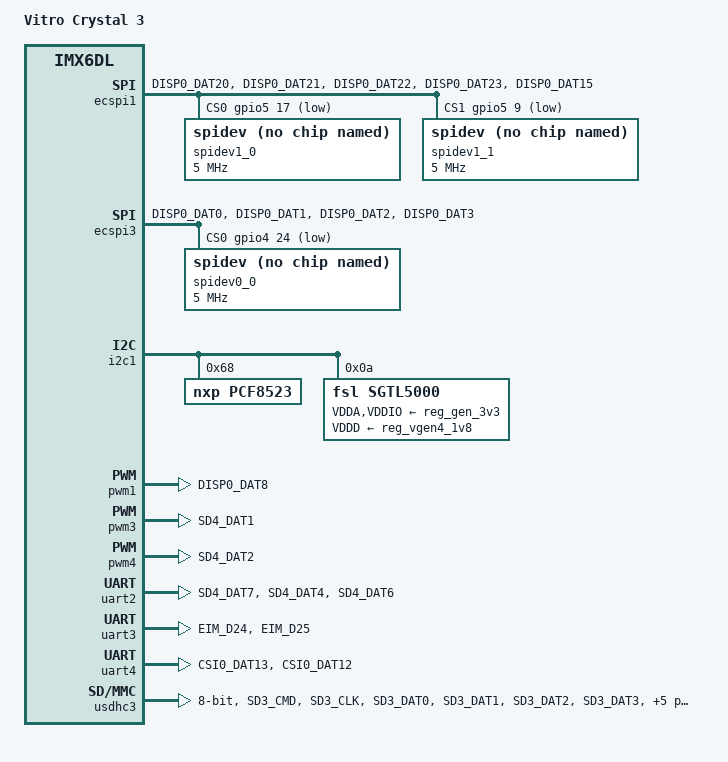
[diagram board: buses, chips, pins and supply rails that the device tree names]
/*
 * Device Tree file for vitro Crystal 2 board
 * Copyright (C) 2017 Maciej Pijanowski <maciej.pijanowski@3mdeb.com>
 *
 * This file is dual-licensed: you can use it either under the terms
 * of the GPL or the X11 license, at your option. Note that this dual
 * licensing only applies to this file, and not this project as a
 * whole.
 *
 *  a) This file is free software; you can redistribute it and/or
 *     modify it under the terms of the GNU General Public License as
 *     published by the Free Software Foundation; either version 2 of the
 *     License.
 *
 *     This file is distributed in the hope that it will be useful
 *     but WITHOUT ANY WARRANTY; without even the implied warranty of
 *     MERCHANTABILITY or FITNESS FOR A PARTICULAR PURPOSE.  See the
 *     GNU General Public License for more details.
 *
 * Or, alternatively
 *
 *  b) Permission is hereby granted, free of charge, to any person
 *     obtaining a copy of this software and associated documentation
 *     files (the "Software"), to deal in the Software without
 *     restriction, including without limitation the rights to use
 *     copy, modify, merge, publish, distribute, sublicense, and/or
 *     sell copies of the Software, and to permit persons to whom the
 *     Software is furnished to do so, subject to the following
 *     conditions:
 *
 *     The above copyright notice and this permission notice shall be
 *     included in all copies or substantial portions of the Software.
 *
 *     THE SOFTWARE IS PROVIDED , WITHOUT WARRANTY OF ANY KIND
 *     EXPRESS OR IMPLIED, INCLUDING BUT NOT LIMITED TO THE WARRANTIES
 *     OF MERCHANTABILITY, FITNESS FOR A PARTICULAR PURPOSE AND
 *     NONINFRINGEMENT. IN NO EVENT SHALL THE AUTHORS OR COPYRIGHT
 *     HOLDERS BE LIABLE FOR ANY CLAIM, DAMAGES OR OTHER LIABILITY
 *     WHETHER IN AN ACTION OF CONTRACT, TORT OR OTHERWISE, ARISING
 *     FROM, OUT OF OR IN CONNECTION WITH THE SOFTWARE OR THE USE OR
 *     OTHER DEALINGS IN THE SOFTWARE.
 */
/dts-v1/;

#include "imx6dl.dtsi"
#include "imx6dl-crystal.dtsi"

/ {
	model = "Vitro Crystal 3";
	compatible = "vitro,crystal3", "fsl,imx6dl";
};

/* SPI1 from RPI header */
&ecspi1 {
	pinctrl-names = "default";
	pinctrl-0 = <&pinctrl_crystal3_ecspi1>;
	cs-gpios = <
		&gpio5 17 GPIO_ACTIVE_LOW
		&gpio5 9  GPIO_ACTIVE_LOW
		>;
	status = "okay";

	spidev1_0: spi@0 {
		compatible = "spidev";
		reg = <0>;
		spi-max-frequency = <5000000>;
	};

	spidev1_1: spi@1 {
		compatible = "spidev";
		reg = <1>;
		spi-max-frequency = <5000000>;
	};
};

/* SPI2 from RPI header */
&ecspi3 {
	pinctrl-names = "default";
	pinctrl-0 = <&pinctrl_crystal3_ecspi3>;
	cs-gpios = <
		&gpio4 24 GPIO_ACTIVE_LOW
		>;
	status = "okay";

	spidev0_0: spi@0 {
		compatible = "spidev";
		reg = <0>;
		spi-max-frequency = <5000000>;
	};
};

&i2c1 {
	pcf8523: rtc@68 {
		compatible = "nxp,pcf8523";
		reg = <0x68>;
	};

	sgtl5000: audio@0a {
		clocks = <&clks IMX6QDL_CLK_CKO>;
		compatible = "fsl,sgtl5000";
		#sound-dai-cells = <0>;
		pinctrl-names = "default";
		pinctrl-0 = <&pinctrl_crystal3_sgtl5000>;
		reg = <0x0a>;
		VDDA-supply = <&reg_gen_3v3>;
		VDDD-supply = <&reg_vgen4_1v8>;
		VDDIO-supply = <&reg_gen_3v3>;
	};
};

&iomuxc {

	crystal3 {
		pinctrl_crystal3_ecspi1: crystal3-ecspi1 {
			fsl,pins = <
				MX6QDL_PAD_DISP0_DAT20__ECSPI1_SCLK 0x100b1
				MX6QDL_PAD_DISP0_DAT21__ECSPI1_MOSI 0x100b1
				MX6QDL_PAD_DISP0_DAT22__ECSPI1_MISO 0x100b1
				MX6QDL_PAD_DISP0_DAT23__ECSPI1_SS0 0x000b1
				MX6QDL_PAD_DISP0_DAT15__ECSPI1_SS1 0x000b1
			>;
		};

		pinctrl_crystal3_ecspi3: crystal3-ecspi3 {
			fsl,pins = <
				MX6QDL_PAD_DISP0_DAT0__ECSPI3_SCLK 0x100b1
				MX6QDL_PAD_DISP0_DAT1__ECSPI3_MOSI 0x100b1
				MX6QDL_PAD_DISP0_DAT2__ECSPI3_MISO 0x100b1
				MX6QDL_PAD_DISP0_DAT3__ECSPI3_SS0 0x000b1
			>;
		};

		pinctrl_hog: hoggrp {
		fsl,pins = <
				/*
				 * 40 pin RPI header (J17) GPIO description.
				 *
				 * In case of GPIOs following convention is
				 * used:
				 *  PI_GPIO_NUMBER (LINUX_GPIO_NUMBER)
				 *
				 * The functions are as following:
				 *
				 *	pin1		pin2
				 *	3.3V		5V
				 *	HAT_SDA (I2C2)	5V
				 *	HAT_SCL (I2C2)	GND
				 *	GCLK1		UART3_TXD
				 *	GND		UART3_RXD
				 *	17 (60)		PWM_0
				 *	27 (61)		GND
				 *	22 (64)		23 (73)
				 *	3.3V		24 (72)
				 *	SPI1_MOSI	GND
				 *	SPI1_MISO	25 (65)
				 *	SPI1_SCLK	SPI1_CE_0_N
				 *	GND		SPI1_CE_1_N
				 *	ID_SDA		ID_SCL
				 *	GCLK0		GND
				 *	GCLK2		PWM_1
				 *	PWM2		GND
				 *	SPI2_MISO	16 (121)
				 *	SPI2_CE_0_N 	SPI2_MOSI
				 *	GND		SPI2_SCLK
				 *
				 * The GPIO numbers can be extracted using
				 * signal name from below.
				 * Example -
				 * MX6QDL_PAD_EIM_DA10__GPIO3_IO10 is
				 * GPIO(3,10) which is (3-1)*32+10 = gpio 74
				 *
				 * i.e. The mapping of GPIO(X,Y) to Linux gpio
				 * number is : gpio number = (X-1) * 32 + Y
				 *
				 */

				/* 0x130b1:
				 * hysteresis enabled, 100K pull down, medium
				 * speed (100MHz), 43_OHM Drive Strength,
				 * Fast Slew Rate
				 */

				/* PI_GPIO_27 */
				MX6QDL_PAD_EIM_EB1__GPIO2_IO29 0x130b1
				/* PI_GPIO_22 */
				MX6QDL_PAD_EIM_DA0__GPIO3_IO00 0x130b1
				/* PI_GPIO_23 */
				MX6QDL_PAD_EIM_DA9__GPIO3_IO09 0x130b1
				/* PI_GPIO_24 */
				MX6QDL_PAD_EIM_DA8__GPIO3_IO08 0x130b1
				/* PI_GPIO_25 */
				MX6QDL_PAD_EIM_DA1__GPIO3_IO01 0x130b1
				/* PI_GPIO_16 */
				MX6QDL_PAD_DISP0_DAT4__GPIO4_IO25 0x130b1

				/* PI_GCLK0 */
				MX6QDL_PAD_EIM_A23__GPIO6_IO06 0x000b0
				/* PI_GCLK1 */
				MX6QDL_PAD_GPIO_3__CCM_CLKO2 0x000b0
				/* PI_GCLK2 */
				MX6QDL_PAD_EIM_A24__GPIO5_IO04 0x000b0

				/* Pull-up mPCIe GSM modem rst and wake lines */
				/*  mPCIe2 MC5728_WAKE_EN */
				MX6QDL_PAD_EIM_A19__GPIO2_IO19 0x1b0b1
				/*  mPCIe2 MC5728_EXT_RST_N */
				MX6QDL_PAD_EIM_A20__GPIO2_IO18 0x1b0b1

				/* PI_GPIO17 - pull up for external shutdown */
				MX6QDL_PAD_EIM_EB0__GPIO2_IO28 0x1b0b1
			>;
		};

		pinctrl_crystal3_pwm1: crystal3-pwm1 {
			fsl,pins = <
				MX6QDL_PAD_DISP0_DAT8__PWM1_OUT 0x1b0b1
			>;
		};

		pinctrl_crystal3_pwm3: crystal3-pwm3 {
			fsl,pins = <
				MX6QDL_PAD_SD4_DAT1__PWM3_OUT 0x1b0b1
			>;
		};

		pinctrl_crystal3_pwm4: crystal3-pwm4 {
			fsl,pins = <
				MX6QDL_PAD_SD4_DAT2__PWM4_OUT 0x1b0b1
			>;
		};

		pinctrl_crystal3_sgtl5000: crystal3-sgtl5000 {
			fsl,pins = <
				MX6QDL_PAD_DISP0_DAT19__AUD5_RXD	0x130b0
				MX6QDL_PAD_KEY_COL0__AUD5_TXC		0x130b0
				MX6QDL_PAD_KEY_ROW0__AUD5_TXD		0x110b0
				MX6QDL_PAD_KEY_COL1__AUD5_TXFS		0x130b0
				MX6QDL_PAD_GPIO_5__CCM_CLKO1		0x130b0
			>;
		};

		pinctrl_crystal3_uart2: crystal3-uart2 {
			fsl,pins = <
				MX6QDL_PAD_SD4_DAT7__UART2_TX_DATA	0x1b0b1
				MX6QDL_PAD_SD4_DAT4__UART2_RX_DATA	0x1b0b1
				/* only CTS line is connected, RTS is not */
				MX6QDL_PAD_SD4_DAT6__UART2_CTS_B	0x1b0b1
			>;
		};

		pinctrl_crystal3_uart3: crystal3-uart3 {
			fsl,pins = <
				MX6QDL_PAD_EIM_D24__UART3_TX_DATA	0x1b0b1
				MX6QDL_PAD_EIM_D25__UART3_RX_DATA	0x1b0b1
			>;
		};

		pinctrl_crystal3_uart4: crystal3-uart4 {
			fsl,pins = <
				MX6QDL_PAD_CSI0_DAT13__UART4_RX_DATA	0x1b0b1
				MX6QDL_PAD_CSI0_DAT12__UART4_TX_DATA	0x1b0b1
			>;
		};

		pinctrl_crystal3_usdhc3: crystal3-usdhc3 {
			fsl,pins = <
				MX6QDL_PAD_SD3_CMD__SD3_CMD	0x17059
				MX6QDL_PAD_SD3_CLK__SD3_CLK	0x10059
				MX6QDL_PAD_SD3_DAT0__SD3_DATA0	0x17059
				MX6QDL_PAD_SD3_DAT1__SD3_DATA1	0x17059
				MX6QDL_PAD_SD3_DAT2__SD3_DATA2	0x17059
				MX6QDL_PAD_SD3_DAT3__SD3_DATA3	0x17059
				MX6QDL_PAD_SD3_DAT4__SD3_DATA4	0x17059
				MX6QDL_PAD_SD3_DAT5__SD3_DATA5	0x17059
				MX6QDL_PAD_SD3_DAT6__SD3_DATA6	0x17059
				MX6QDL_PAD_SD3_DAT7__SD3_DATA7	0x17059
				/* eMMC reset */
				MX6QDL_PAD_SD3_RST__SD3_RESET	0x17059
			>;
		};
	};
};

/* PI_PWM_0 */
&pwm1 {
	pinctrl-names = "default";
	pinctrl-0 = <&pinctrl_crystal3_pwm1>;
	status = "okay";
};

/* PI_PWM_1 */
&pwm3 {
	pinctrl-names = "default";
	pinctrl-0 = <&pinctrl_crystal3_pwm3>;
	status = "okay";
};

/* PI_PWM_2 */
&pwm4 {
	pinctrl-names = "default";
	pinctrl-0 = <&pinctrl_crystal3_pwm4>;
	status = "okay";
};

/* RS-485 */
&uart2 {
	pinctrl-names = "default";
	pinctrl-0 = <&pinctrl_crystal3_uart2>;
	uart-has-rtscts;
	rs485-rts-delay = <1 1>;
	linux,rs485-enabled-at-boot-time;
	status = "okay";
};

/* PI_UART3 */
&uart3 {
	pinctrl-names = "default";
	pinctrl-0 = <&pinctrl_crystal3_uart3>;
	status = "okay";
};

/* RS-232 */
&uart4 {
	pinctrl-names = "default";
	pinctrl-0 = <&pinctrl_crystal3_uart4>;
	status = "okay";
};

/* eMMC */
/* Temporary disabled. It is a workaround for platform booting issue
   with Vitrobian based on Debian 10 (buster).
   Sometimes platform doesn't boot due to incorrect enumeration
   process execution and SD card with Vitrobian can't be detected properly. */
&usdhc3 {
	pinctrl-names = "default";
	pinctrl-0 = <&pinctrl_crystal3_usdhc3>;
	bus-width = <8>;
	status = "okay";
};
